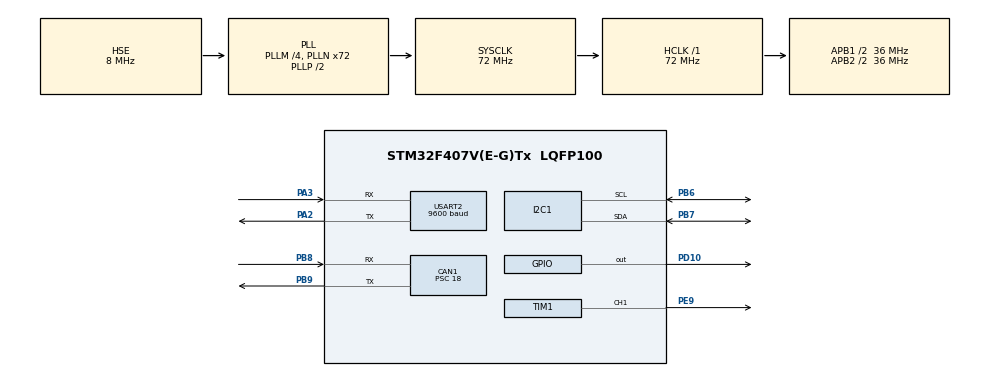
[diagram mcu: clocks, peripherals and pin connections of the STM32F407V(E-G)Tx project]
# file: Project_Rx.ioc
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CAN1.BS1=CAN_BS1_2TQ
CAN1.CalculateBaudRate=500000
CAN1.CalculateTimeBit=2000
CAN1.CalculateTimeQuantum=500.0
CAN1.Prescaler=18
Mcu.Family=STM32F4
Mcu.Name=STM32F407V(E-G)Tx
Mcu.Package=LQFP100
NVIC.CAN1_RX0_IRQn=true\:0\:0\:false\:false\:true\:true\:true\:true
NVIC.PriorityGroup=NVIC_PRIORITYGROUP_0
PA2.Mode=Asynchronous
PA2.Signal=USART2_TX
PA3.Mode=Asynchronous
PA3.Signal=USART2_RX
PB6.Mode=I2C
PB6.Signal=I2C1_SCL
PB7.Mode=I2C
PB7.Signal=I2C1_SDA
PB8.Mode=CAN_Activate
PB8.Signal=CAN1_RX
PB9.Mode=CAN_Activate
PB9.Signal=CAN1_TX
PD10.Signal=GPIO_Output
PE9.Signal=S_TIM1_CH1
PH0-OSC_IN.Mode=HSE-External-Oscillator
PH0-OSC_IN.Signal=RCC_OSC_IN
PH1-OSC_OUT.Mode=HSE-External-Oscillator
PH1-OSC_OUT.Signal=RCC_OSC_OUT
ProjectManager.HeapSize=0x200
ProjectManager.StackSize=0x400
ProjectManager.TargetToolchain=STM32CubeIDE
RCC.48MHZClocksFreq_Value=20571428.57142857
RCC.AHBFreq_Value=72000000
RCC.APB1CLKDivider=RCC_HCLK_DIV2
RCC.APB1Freq_Value=36000000
RCC.APB1TimFreq_Value=72000000
RCC.APB2CLKDivider=RCC_HCLK_DIV2
RCC.APB2Freq_Value=36000000
RCC.APB2TimFreq_Value=72000000
RCC.CortexFreq_Value=72000000
RCC.HCLKFreq_Value=72000000
RCC.HSE_VALUE=8000000
RCC.HSI_VALUE=16000000
RCC.LSE_VALUE=32768
RCC.PLLM=4
RCC.PLLN=72
RCC.PLLQ=7
RCC.PLLSourceVirtual=RCC_PLLSOURCE_HSE
RCC.SYSCLKFreq_VALUE=72000000
RCC.SYSCLKSource=RCC_SYSCLKSOURCE_PLLCLK
RCC.VCOOutputFreq_Value=144000000
SH.S_TIM1_CH1.0=TIM1_CH1,PWM Generation1 CH1
TIM1.AutoReloadPreload=TIM_AUTORELOAD_PRELOAD_ENABLE
TIM1.Channel-PWM\ Generation1\ CH1=TIM_CHANNEL_1
TIM1.Period=99
TIM1.Prescaler=72
USART2.BaudRate=9600
USART2.VirtualMode=VM_ASYNC
VP_TIM1_VS_ClockSourceINT.Mode=Internal
board=STM32F407G-DISC1

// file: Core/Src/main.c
/* USER CODE BEGIN Header */
/**
  ******************************************************************************
  * @file           : main.c
  * @brief          : Main program body
  ******************************************************************************
  * @attention
  *
  * Copyright (c) 2025 STMicroelectronics.
  * All rights reserved.
  *
  * This software is licensed under terms that can be found in the LICENSE file
  * in the root directory of this software component.
  * If no LICENSE file comes with this software, it is provided AS-IS.
  *
  ******************************************************************************
  */
/* USER CODE END Header */
#include "main.h"

/* USER CODE BEGIN Includes */
#include <stdio.h>
#include <string.h>
#include "led.h"
#include "lcd16x2_i2c.h"
/* USER CODE END Includes */

CAN_HandleTypeDef hcan1;

I2C_HandleTypeDef hi2c1;

TIM_HandleTypeDef htim1;

UART_HandleTypeDef huart2;

/* USER CODE BEGIN PV */

CAN_RxHeaderTypeDef RxHeader;
uint8_t RxData[4];
volatile int datacheck = 0;

uint16_t distance;
uint8_t flag = 0;

/* USER CODE END PV */

void SystemClock_Config(void);
static void MX_GPIO_Init(void);
static void MX_CAN1_Init(void);
static void MX_USART2_UART_Init(void);
static void MX_TIM1_Init(void);
static void MX_I2C1_Init(void);

/* USER CODE BEGIN 0 */

void HAL_CAN_RxFifo0MsgPendingCallback(CAN_HandleTypeDef *hcan)
{
	if(HAL_CAN_GetRxMessage(&hcan1, CAN_RX_FIFO0, &RxHeader, RxData) != HAL_OK)
	{
		Error_Handler();
	}
	if(RxHeader.DLC == 4)
	{
		datacheck = 1;
	}
}

void Normal_GreenLED(void)
{
	LedOn(LED_GREEN_PIN);
	LedOff(LED_YELLOW_PIN);
	LedOff(LED_RED_PIN);
	LedOff(BUZZER);
}

void Goslow_YelloLED(void)
{
	LedOff(LED_GREEN_PIN);
	LedOn(LED_YELLOW_PIN);
	LedOff(LED_RED_PIN);
	LedOff(BUZZER);
}

void Alert_RedLED(void)
{
	LedOff(LED_GREEN_PIN);
	LedOff(LED_YELLOW_PIN);
	LedOn(LED_RED_PIN);
	LedOff(BUZZER);
}

void Accident_Alarm(void)
{
	LedOff(LED_GREEN_PIN);
	LedOff(LED_YELLOW_PIN);
	LedOn(LED_RED_PIN);
	LedOn(BUZZER);
}

/* USER CODE END 0 */

int main(void)
{

  /* USER CODE BEGIN 1 */
	char str[80];
	char *str3 = "Normal Mode";
	char *str4 = "Vehicle Ahead";
	char *str5 = "Go Slow";
	char *str6 = "Stop";
	char *str7 = "Accident Happened";
  /* USER CODE END 1 */

  /* MCU Configuration--------------------------------------------------------*/

  /* Reset of all peripherals, Initializes the Flash interface and the Systick. */
  HAL_Init();

  /* USER CODE BEGIN Init */

  LedInit(LED_GREEN_PIN);
  LedInit(LED_YELLOW_PIN);
  LedInit(LED_RED_PIN);
  LedInit(BUZZER);
  /* USER CODE END Init */

  /* Configure the system clock */
  SystemClock_Config();

  /* Initialize all configured peripherals */
  MX_GPIO_Init();
  MX_CAN1_Init();
  MX_USART2_UART_Init();
  MX_TIM1_Init();
  MX_I2C1_Init();
  /* USER CODE BEGIN 2 */

  HAL_UART_Transmit(&huart2, (uint8_t *)"Welcome \r \n", strlen("Welcome \r \n"), HAL_MAX_DELAY);

  if(HAL_CAN_Start(&hcan1) != HAL_OK)
  {
	  Error_Handler();
  }

  //Enable CAN Message reception interrupt
  HAL_CAN_ActivateNotification(&hcan1, CAN_IT_RX_FIFO0_MSG_PENDING);

  HAL_TIM_PWM_Start(&htim1, TIM_CHANNEL_1);

  /* USER CODE END 2 */

  /* Infinite loop */
  while (1)
  {

    /* USER CODE BEGIN 3 */

	  if(datacheck)
	  {
		  //Extract received ultrasonic data from CAN Message
		  distance = (RxData[0] << 8) | RxData[1];
		  //Extract received piezoelectric sensor data from CAN Message
		  flag = RxData[2];

		  sprintf(str, "Distance = %d cms   Flag = %d \r \n", distance, flag);
		  HAL_UART_Transmit(&huart2, (uint8_t *)str, strlen(str), HAL_MAX_DELAY);

		  //Reset datacheck flag
		  datacheck = 0;

		  int ret = lcd16x2_i2c_init(&hi2c1);

		  if(distance > 80)
		  	  {
		  		  Normal_GreenLED();
		  		  if(ret)
		  		  {
		  		  	  lcd16x2_i2c_setCursor(0, 0);
		  		  	  lcd16x2_i2c_printf(str3);
		  		  }
		  		  htim1.Instance->CCR1 = 89;
		  	  }
		  	  else if(distance < 80 && distance > 40)
		  	  {
		  		  Goslow_YelloLED();
		  		  if(ret)
		  		  {
		  		  	  lcd16x2_i2c_setCursor(0, 0);
		  		  	  lcd16x2_i2c_printf(str4);
		  		  	  lcd16x2_i2c_setCursor(1, 0);
		  		  	  lcd16x2_i2c_printf(str5);
		  		  }
		  		  htim1.Instance->CCR1 = 74;
		  		  HAL_Delay(2000);
		  		  htim1.Instance->CCR1 = 49;
		  		  HAL_Delay(2000);
		  		  htim1.Instance->CCR1 = 39;
		  	  }
		  	  else if(distance < 40 && distance > 15)
		  	  {
		  		  Alert_RedLED();
		  		  if(ret)
		  		  {
		  		  	  lcd16x2_i2c_setCursor(0, 0);
		  		  	  lcd16x2_i2c_printf(str6);
		  		  }
		  		  htim1.Instance->CCR1 = 29;
		  	  }
		  	  else if(flag == 1 && distance < 15)
		  	  {
		  		  Accident_Alarm();
		  		  HAL_GPIO_WritePin(GPIOD, GPIO_PIN_10, GPIO_PIN_SET);
		  		  if(ret)
		  		  {
		  		  	  lcd16x2_i2c_setCursor(0, 0);
		  		  	  lcd16x2_i2c_printf(str7);
		  		  }
		  		  flag = 0;
		  		  htim1.Instance->CCR1 = 0;
		  	  }

	  }
  }
  /* USER CODE END 3 */
}

void SystemClock_Config(void)
{
  RCC_OscInitTypeDef RCC_OscInitStruct = {0};
  RCC_ClkInitTypeDef RCC_ClkInitStruct = {0};

  /** Configure the main internal regulator output voltage
  */
  __HAL_RCC_PWR_CLK_ENABLE();
  __HAL_PWR_VOLTAGESCALING_CONFIG(PWR_REGULATOR_VOLTAGE_SCALE1);

  /** Initializes the RCC Oscillators according to the specified parameters
  * in the RCC_OscInitTypeDef structure.
  */
  RCC_OscInitStruct.OscillatorType = RCC_OSCILLATORTYPE_HSE;
  RCC_OscInitStruct.HSEState = RCC_HSE_ON;
  RCC_OscInitStruct.PLL.PLLState = RCC_PLL_ON;
  RCC_OscInitStruct.PLL.PLLSource = RCC_PLLSOURCE_HSE;
  RCC_OscInitStruct.PLL.PLLM = 4;
  RCC_OscInitStruct.PLL.PLLN = 72;
  RCC_OscInitStruct.PLL.PLLP = RCC_PLLP_DIV2;
  RCC_OscInitStruct.PLL.PLLQ = 7;
  if (HAL_RCC_OscConfig(&RCC_OscInitStruct) != HAL_OK)
  {
    Error_Handler();
  }

  /** Initializes the CPU, AHB and APB buses clocks
  */
  RCC_ClkInitStruct.ClockType = RCC_CLOCKTYPE_HCLK|RCC_CLOCKTYPE_SYSCLK
                              |RCC_CLOCKTYPE_PCLK1|RCC_CLOCKTYPE_PCLK2;
  RCC_ClkInitStruct.SYSCLKSource = RCC_SYSCLKSOURCE_PLLCLK;
  RCC_ClkInitStruct.AHBCLKDivider = RCC_SYSCLK_DIV1;
  RCC_ClkInitStruct.APB1CLKDivider = RCC_HCLK_DIV2;
  RCC_ClkInitStruct.APB2CLKDivider = RCC_HCLK_DIV2;

  if (HAL_RCC_ClockConfig(&RCC_ClkInitStruct, FLASH_LATENCY_2) != HAL_OK)
  {
    Error_Handler();
  }
}

static void MX_CAN1_Init(void)
{

  hcan1.Instance = CAN1;
  hcan1.Init.Prescaler = 18;
  hcan1.Init.Mode = CAN_MODE_NORMAL;
  hcan1.Init.SyncJumpWidth = CAN_SJW_1TQ;
  hcan1.Init.TimeSeg1 = CAN_BS1_2TQ;
  hcan1.Init.TimeSeg2 = CAN_BS2_1TQ;
  hcan1.Init.TimeTriggeredMode = DISABLE;
  hcan1.Init.AutoBusOff = DISABLE;
  hcan1.Init.AutoWakeUp = DISABLE;
  hcan1.Init.AutoRetransmission = DISABLE;
  hcan1.Init.ReceiveFifoLocked = DISABLE;
  hcan1.Init.TransmitFifoPriority = DISABLE;
  if (HAL_CAN_Init(&hcan1) != HAL_OK)
  {
    Error_Handler();
  }
  /* USER CODE BEGIN CAN1_Init 2 */

  CAN_FilterTypeDef canfilterconfig;
  canfilterconfig.FilterActivation = CAN_FILTER_ENABLE;
  canfilterconfig.FilterBank = 4;
  canfilterconfig.FilterFIFOAssignment = CAN_FILTER_FIFO0;
  canfilterconfig.FilterIdHigh = 0x1500;
  canfilterconfig.FilterIdLow = 0x0000;
  canfilterconfig.FilterMaskIdHigh = 0xFF00;
  canfilterconfig.FilterMaskIdLow = 0x0000;
  canfilterconfig.FilterMode = CAN_FILTERMODE_IDMASK;
  canfilterconfig.FilterScale = CAN_FILTERSCALE_32BIT;
  canfilterconfig.SlaveStartFilterBank = 14;

  if(HAL_CAN_ConfigFilter(&hcan1, &canfilterconfig) != HAL_OK)
  {
	  Error_Handler();
  }

  /* USER CODE END CAN1_Init 2 */

}

static void MX_I2C1_Init(void)
{

  hi2c1.Instance = I2C1;
  hi2c1.Init.ClockSpeed = 100000;
  hi2c1.Init.DutyCycle = I2C_DUTYCYCLE_2;
  hi2c1.Init.OwnAddress1 = 0;
  hi2c1.Init.AddressingMode = I2C_ADDRESSINGMODE_7BIT;
  hi2c1.Init.DualAddressMode = I2C_DUALADDRESS_DISABLE;
  hi2c1.Init.OwnAddress2 = 0;
  hi2c1.Init.GeneralCallMode = I2C_GENERALCALL_DISABLE;
  hi2c1.Init.NoStretchMode = I2C_NOSTRETCH_DISABLE;
  if (HAL_I2C_Init(&hi2c1) != HAL_OK)
  {
    Error_Handler();
  }

}

static void MX_TIM1_Init(void)
{

  TIM_ClockConfigTypeDef sClockSourceConfig = {0};
  TIM_MasterConfigTypeDef sMasterConfig = {0};
  TIM_OC_InitTypeDef sConfigOC = {0};
  TIM_BreakDeadTimeConfigTypeDef sBreakDeadTimeConfig = {0};

  htim1.Instance = TIM1;
  htim1.Init.Prescaler = 72;
  htim1.Init.CounterMode = TIM_COUNTERMODE_UP;
  htim1.Init.Period = 99;
  htim1.Init.ClockDivision = TIM_CLOCKDIVISION_DIV1;
  htim1.Init.RepetitionCounter = 0;
  htim1.Init.AutoReloadPreload = TIM_AUTORELOAD_PRELOAD_ENABLE;
  if (HAL_TIM_Base_Init(&htim1) != HAL_OK)
  {
    Error_Handler();
  }
  sClockSourceConfig.ClockSource = TIM_CLOCKSOURCE_INTERNAL;
  if (HAL_TIM_ConfigClockSource(&htim1, &sClockSourceConfig) != HAL_OK)
  {
    Error_Handler();
  }
  if (HAL_TIM_PWM_Init(&htim1) != HAL_OK)
  {
    Error_Handler();
  }
  sMasterConfig.MasterOutputTrigger = TIM_TRGO_RESET;
  sMasterConfig.MasterSlaveMode = TIM_MASTERSLAVEMODE_DISABLE;
  if (HAL_TIMEx_MasterConfigSynchronization(&htim1, &sMasterConfig) != HAL_OK)
  {
    Error_Handler();
  }
  sConfigOC.OCMode = TIM_OCMODE_PWM1;
  sConfigOC.Pulse = 0;
  sConfigOC.OCPolarity = TIM_OCPOLARITY_HIGH;
  sConfigOC.OCNPolarity = TIM_OCNPOLARITY_HIGH;
  sConfigOC.OCFastMode = TIM_OCFAST_DISABLE;
  sConfigOC.OCIdleState = TIM_OCIDLESTATE_RESET;
  sConfigOC.OCNIdleState = TIM_OCNIDLESTATE_RESET;
  if (HAL_TIM_PWM_ConfigChannel(&htim1, &sConfigOC, TIM_CHANNEL_1) != HAL_OK)
  {
    Error_Handler();
  }
  sBreakDeadTimeConfig.OffStateRunMode = TIM_OSSR_DISABLE;
  sBreakDeadTimeConfig.OffStateIDLEMode = TIM_OSSI_DISABLE;
  sBreakDeadTimeConfig.LockLevel = TIM_LOCKLEVEL_OFF;
  sBreakDeadTimeConfig.DeadTime = 0;
  sBreakDeadTimeConfig.BreakState = TIM_BREAK_DISABLE;
  sBreakDeadTimeConfig.BreakPolarity = TIM_BREAKPOLARITY_HIGH;
  sBreakDeadTimeConfig.AutomaticOutput = TIM_AUTOMATICOUTPUT_DISABLE;
  if (HAL_TIMEx_ConfigBreakDeadTime(&htim1, &sBreakDeadTimeConfig) != HAL_OK)
  {
    Error_Handler();
  }
  HAL_TIM_MspPostInit(&htim1);

}

static void MX_USART2_UART_Init(void)
{

  huart2.Instance = USART2;
  huart2.Init.BaudRate = 9600;
  huart2.Init.WordLength = UART_WORDLENGTH_8B;
  huart2.Init.StopBits = UART_STOPBITS_1;
  huart2.Init.Parity = UART_PARITY_NONE;
  huart2.Init.Mode = UART_MODE_TX_RX;
  huart2.Init.HwFlowCtl = UART_HWCONTROL_NONE;
  huart2.Init.OverSampling = UART_OVERSAMPLING_16;
  if (HAL_UART_Init(&huart2) != HAL_OK)
  {
    Error_Handler();
  }

}

static void MX_GPIO_Init(void)
{
  GPIO_InitTypeDef GPIO_InitStruct = {0};

  /* GPIO Ports Clock Enable */
  __HAL_RCC_GPIOH_CLK_ENABLE();
  __HAL_RCC_GPIOA_CLK_ENABLE();
  __HAL_RCC_GPIOE_CLK_ENABLE();
  __HAL_RCC_GPIOD_CLK_ENABLE();
  __HAL_RCC_GPIOB_CLK_ENABLE();

  /*Configure GPIO pin Output Level */
  HAL_GPIO_WritePin(GPIOD, GPIO_PIN_10, GPIO_PIN_RESET);

  /*Configure GPIO pin : PD10 */
  GPIO_InitStruct.Pin = GPIO_PIN_10;
  GPIO_InitStruct.Mode = GPIO_MODE_OUTPUT_PP;
  GPIO_InitStruct.Pull = GPIO_NOPULL;
  GPIO_InitStruct.Speed = GPIO_SPEED_FREQ_LOW;
  HAL_GPIO_Init(GPIOD, &GPIO_InitStruct);

}

void Error_Handler(void)
{
  __disable_irq();
  while (1)
  {
  }
}
